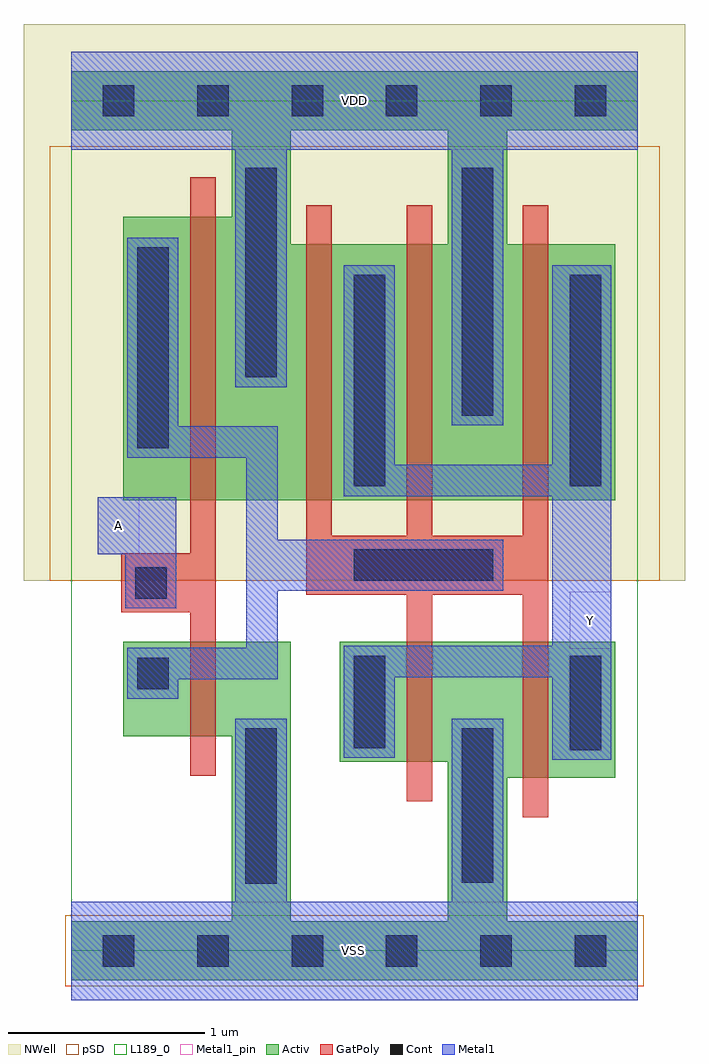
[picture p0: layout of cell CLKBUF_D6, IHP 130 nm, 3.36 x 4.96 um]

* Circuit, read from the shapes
.subckt CLKBUF_D6 A VDD VSS Y
XM1 VSS A n1 VSS sg13_lv_nmos w=0.48u l=0.13u
XM2 VSS n1 Y VSS sg13_lv_nmos w=0.61u l=0.13u
XM3 Y n1 VSS VSS sg13_lv_nmos w=0.69u l=0.13u
XM4 VDD A n1 VDD sg13_lv_pmos w=1.44u l=0.13u
XM5 Y n1 VDD VDD sg13_lv_pmos w=1.3u l=0.13u m=3
.ends

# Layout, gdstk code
import gdstk
lib = gdstk.Library(unit=1e-6, precision=1e-09)
def R(c, l, rs):  # rectangles x0, y0, x1, y1
    for r in rs: c.add(gdstk.rectangle(r[:2], r[2:], *l))
def A(c, l, x, y, w, h, nx, ny, dx, dy):  # array of equal rectangles
    R(c, l, [(x+i*dx, y+j*dy, x+i*dx+w, y+j*dy+h) for i in range(nx) for j in range(ny)])
def P(c, l, *ps):  # polygons
    for p in ps: c.add(gdstk.Polygon(p, *l))
Activ = (1, 0)
GatPoly = (5, 0)
Cont = (6, 0)
Metal1 = (8, 0)
Metal1_pin = (8, 2)
pSD = (14, 0)
NWell = (31, 0)
L189_0 = (189, 0)

clkbuf_d6 = lib.new_cell('CLKBUF_D6')
P(clkbuf_d6, Activ, [(0,-0.15),(0,0.15),(0.815,0.15),(0.815,1.09),(0.265,1.09),(0.265,1.57),(1.115,1.57),(1.115,0.15),(1.915,0.15),(1.915,0.96),(1.365,0.96),(1.365,1.57),(2.765,1.57),(2.765,0.88),(2.215,0.88),(2.215,0.15),(2.88,0.15),(2.88,-0.15)],
  [(0.265,2.29),(0.265,3.73),(0.815,3.73),(0.815,4.17),(1.115,4.17),(1.115,3.59),(1.915,3.59),(1.915,4.17),(0,4.17),(0,4.47),(2.88,4.47),(2.88,4.17),(2.215,4.17),(2.215,3.59),(2.765,3.59),(2.765,2.29)])
P(clkbuf_d6, GatPoly, [(0.605,0.89),(0.605,1.72),(0.255,1.72),(0.255,2.02),(0.605,2.02),(0.605,3.93),(0.735,3.93),(0.735,0.89)],
  [(2.295,0.68),(2.295,1.81),(1.835,1.81),(1.835,0.76),(1.705,0.76),(1.705,1.81),(1.195,1.81),(1.195,3.79),(1.325,3.79),(1.325,2.11),(1.705,2.11),(1.705,3.79),(1.835,3.79),(1.835,2.11),(2.295,2.11),(2.295,3.79),(2.425,3.79),(2.425,0.68)])
A(clkbuf_d6, Cont, 0.16, -0.08, 0.16, 0.16, 6, 2, 0.48, 4.32)
R(clkbuf_d6, Cont, [(0.885,0.34,1.045,1.13), (1.985,0.345,2.145,1.13), (2.535,1.02,2.695,1.5), (1.435,1.03,1.595,1.5), (0.335,1.33,0.495,1.49), (0.325,1.79,0.485,1.95), (1.435,1.88,2.145,2.04), (1.435,2.36,1.595,3.435), (2.535,2.36,2.695,3.435), (0.335,2.555,0.495,3.575), (1.985,2.72,2.145,3.98), (0.885,2.915,1.045,3.98)])
R(clkbuf_d6, Metal1, [(0.835,2.865,1.095,4.07)])
P(clkbuf_d6, Metal1, [(0.285,1.28),(0.285,1.54),(0.89,1.54),(0.89,2.505),(0.285,2.505),(0.285,3.625),(0.545,3.625),(0.545,2.665),(1.05,2.665),(1.05,2.09),(2.195,2.09),(2.195,1.83),(1.05,1.83),(1.05,1.38),(0.545,1.38),(0.545,1.28)],
  [(2.445,0.97),(2.445,1.39),(1.645,1.39),(1.645,0.98),(1.385,0.98),(1.385,1.55),(2.445,1.55),(2.445,2.31),(1.385,2.31),(1.385,3.485),(1.645,3.485),(1.645,2.47),(2.445,2.47),(2.445,3.485),(2.745,3.485),(2.745,0.97)],
  [(1.935,2.67),(1.935,4.07),(0,4.07),(0,4.57),(2.88,4.57),(2.88,4.07),(2.195,4.07),(2.195,2.67)],
  [(0.275,1.74),(0.275,2.015),(0.135,2.015),(0.135,2.305),(0.535,2.305),(0.535,1.74)],
  [(0,-0.25),(0,0.25),(0.835,0.25),(0.835,1.18),(1.095,1.18),(1.095,0.25),(1.935,0.25),(1.935,1.18),(2.195,1.18),(2.195,0.25),(2.88,0.25),(2.88,-0.25)])
R(clkbuf_d6, Metal1_pin, [(0,-0.25,2.88,0.25), (2.535,1.535,2.745,1.825), (0.135,2.015,0.345,2.305), (0,4.07,2.88,4.57)])
R(clkbuf_d6, pSD, [(-0.03,-0.18,2.91,0.18), (-0.11,1.88,2.99,4.09)])
R(clkbuf_d6, NWell, [(-0.24,1.88,3.12,4.71)])
R(clkbuf_d6, L189_0, [(0,0,2.88,4.32)])
clkbuf_d6.add(gdstk.Label('A', (0.24,2.16), layer=8, texttype=25))
clkbuf_d6.add(gdstk.Label('Y', (2.64,1.68), layer=8, texttype=25))
clkbuf_d6.add(gdstk.Label('VSS', (1.435,0), layer=8, texttype=25))
clkbuf_d6.add(gdstk.Label('VDD', (1.44,4.32), layer=8, texttype=25))

lib.write_gds('CLKBUF_D6.gds')
